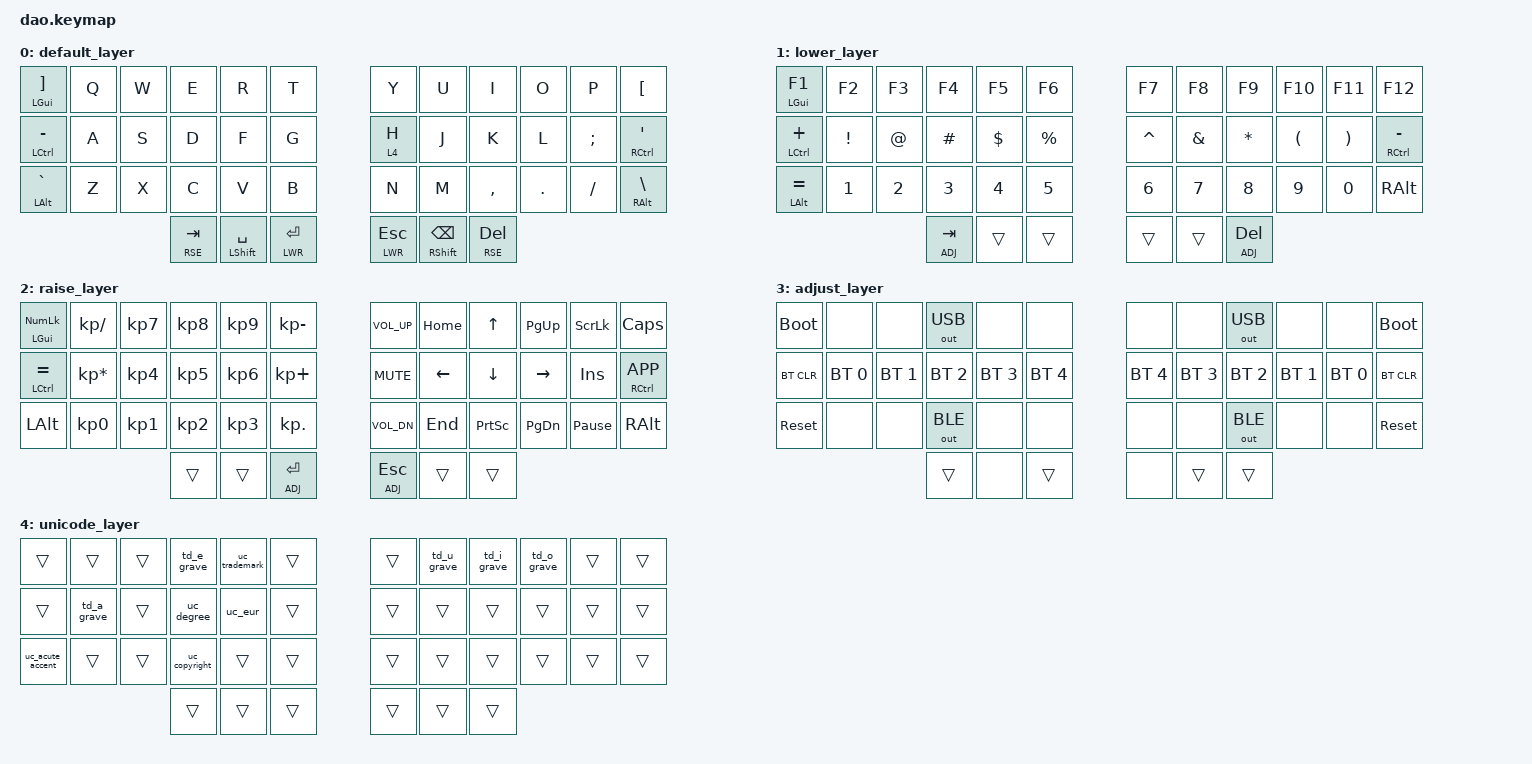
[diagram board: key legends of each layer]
#include <behaviors.dtsi>
#include <dt-bindings/zmk/bt.h>
#include <dt-bindings/zmk/keys.h>
#include <dt-bindings/zmk/outputs.h>

#define DEF 0
#define LWR 1
#define RSE 2
#define ADJ 3
#define UC_TAP_MS 5
#define UC_WAIT_MS 5

#define HELPER_STRINGIFY(x) #x

#define UC_MACRO(name, char_0, char_1, char_2, char_3) \
    / { \
        macros { \
            name: name { \
                compatible = "zmk,behavior-macro"; \
                label = HELPER_STRINGIFY(ucmc_ ## name); \
                #binding-cells = <0>; \
                tap-ms = <UC_TAP_MS>; \
                wait-ms = <UC_WAIT_MS>; \
                bindings = \
                    <&macro_press &kp LALT>, \
                    <&macro_tap &kp char_0 &kp char_1 &kp char_2 &kp char_3>, \
                    <&macro_release &kp LALT>; \
            }; \
        }; \
    };

#define UC_TAPDANCE(name, bind_0, bind_1, bind_2, bind_3) \
    / { \
        behaviors { \
            name: name { \
                compatible = "zmk,behavior-tap-dance"; \
                label = HELPER_STRINGIFY(uctd_ ## name); \
                #binding-cells = <0>; \
                tapping-term-ms = <200>; \
                bindings = <bind_0>, <bind_1>, <bind_2>, <bind_3>; \
            }; \
        }; \
    };

&lt {
    quick_tap_ms = <200>;
};

&mt {
    quick_tap_ms = <200>;
};

// Unicode Chars
UC_MACRO(a_grave, N0, N0, E, N0)
UC_MACRO(a_acute, N0, N0, E, N1)
UC_MACRO(a_grave_up, N0, N0, C, N0)
UC_MACRO(a_acute_up, N0, N0, C, N1)
UC_TAPDANCE(td_a_grave, &a_grave, &a_acute, &a_grave_up, &a_acute_up)
UC_MACRO(e_grave, N0, N0, E, N8)
UC_MACRO(e_acute, N0, N0, E, N9)
UC_MACRO(e_grave_up, N0, N0, C, N8)
UC_MACRO(e_acute_up, N0, N0, C, N9)
UC_TAPDANCE(td_e_grave, &e_grave, &e_acute, &e_grave_up, &e_acute_up)
UC_MACRO(i_grave, N0, N0, E, C)
UC_MACRO(i_acute, N0, N0, E, D)
UC_MACRO(i_grave_up, N0, N0, C, C)
UC_MACRO(i_acute_up, N0, N0, C, D)
UC_TAPDANCE(td_i_grave, &i_grave, &i_acute, &i_grave_up, &i_acute_up)
UC_MACRO(o_grave, N0, N0, F, N2)
UC_MACRO(o_acute, N0, N0, F, N3)
UC_MACRO(o_grave_up, N0, N0, D, N2)
UC_MACRO(o_acute_up, N0, N0, D, N3)
UC_TAPDANCE(td_o_grave, &o_grave, &o_acute, &o_grave_up, &o_acute_up)
UC_MACRO(u_grave, N0, N0, F, N9)
UC_MACRO(u_acute, N0, N0, F, A)
UC_MACRO(u_grave_up, N0, N0, D, N9)
UC_MACRO(u_acute_up, N0, N0, D, A)
UC_TAPDANCE(td_u_grave, &u_grave, &u_acute, &u_grave_up, &u_acute_up)
UC_MACRO(uc_degree, N0, N0, B, N0)
UC_MACRO(uc_eur, N2, N0, A, C)
UC_MACRO(uc_copyright, N0, N0, A, N9)
UC_MACRO(uc_trademark, N0, N0, A, E)
UC_MACRO(uc_acute_accent, N0, N0, B, N4)

/ {
    chosen {
        zmk,matrix_transform = &default_transform;

        // zmk,matrix_transform = &extra_keys_transform;
    };
};

/ {
    keymap {
        compatible = "zmk,keymap";

        default_layer {
            bindings = <
&mt LGUI RBKT    &kp Q  &kp W  &kp E        &kp R            &kp T        &kp Y        &kp U           &kp I        &kp O    &kp P     &kp LBKT
&mt LCTRL MINUS  &kp A  &kp S  &kp D        &kp F            &kp G        &lt 4 H      &kp J           &kp K        &kp L    &kp SEMI  &mt RCTRL SQT
&mt LALT GRAVE   &kp Z  &kp X  &kp C        &kp V            &kp B        &kp N        &kp M           &kp COMMA    &kp DOT  &kp FSLH  &mt RALT BSLH
                               &lt RSE TAB  &mt LSHFT SPACE  &lt LWR RET  &lt LWR ESC  &mt RSHFT BSPC  &lt RSE DEL
            >;
        };

        lower_layer {
            bindings = <
&mt LGUI F1     &kp F2    &kp F3  &kp F4       &kp F5    &kp F6     &kp F7     &kp F8    &kp F9       &kp F10   &kp F11   &kp F12
&mt LCTRL PLUS  &kp EXCL  &kp AT  &kp HASH     &kp DLLR  &kp PRCNT  &kp CARET  &kp AMPS  &kp STAR     &kp LPAR  &kp RPAR  &mt RCTRL MINUS
&mt LALT EQUAL  &kp N1    &kp N2  &kp N3       &kp N4    &kp N5     &kp N6     &kp N7    &kp N8       &kp N9    &kp N0    &kp RALT
                                  &lt ADJ TAB  &trans    &trans     &trans     &trans    &lt ADJ DEL
            >;
        };

        raise_layer {
            bindings = <
&mt LGUI KP_NUM  &kp KP_SLASH     &kp KP_N7  &kp KP_N8  &kp KP_N9  &kp KP_MINUS  &kp C_VOL_UP  &kp HOME  &kp UP           &kp PG_UP  &kp SLCK         &kp CLCK
&mt LCTRL EQUAL  &kp KP_MULTIPLY  &kp KP_N4  &kp KP_N5  &kp KP_N6  &kp KP_PLUS   &kp C_MUTE    &kp LEFT  &kp DOWN         &kp RIGHT  &kp INS          &mt RCTRL K_APP
&kp LALT         &kp KP_N0        &kp KP_N1  &kp KP_N2  &kp KP_N3  &kp KP_DOT    &kp C_VOL_DN  &kp END   &kp PRINTSCREEN  &kp PG_DN  &kp PAUSE_BREAK  &kp RALT
                                             &trans     &trans     &lt ADJ RET   &lt ADJ ESC   &trans    &trans
            >;
        };

        adjust_layer {
            bindings = <
&bootloader  &none         &none         &out OUT_USB  &none         &none         &none         &none         &out OUT_USB  &none         &none         &bootloader
&bt BT_CLR   &bt BT_SEL 0  &bt BT_SEL 1  &bt BT_SEL 2  &bt BT_SEL 3  &bt BT_SEL 4  &bt BT_SEL 4  &bt BT_SEL 3  &bt BT_SEL 2  &bt BT_SEL 1  &bt BT_SEL 0  &bt BT_CLR
&sys_reset   &none         &none         &out OUT_BLE  &none         &none         &none         &none         &out OUT_BLE  &none         &none         &sys_reset
                                         &trans        &none         &trans        &none         &trans        &trans
            >;
        };

        unicode_layer {
            bindings = <
&trans  			&trans  		&trans  	&td_e_grave 	&uc_trademark   &trans  &trans  &td_u_grave 	&td_i_grave  	&td_o_grave  	&trans  	&trans
&trans  			&td_a_grave  	&trans  	&uc_degree  	&uc_eur         &trans  &trans  &trans 			&trans  		&trans  		&trans  	&trans
&uc_acute_accent  	&trans  		&trans  	&uc_copyright  	&trans      	&trans  &trans  &trans 			&trans  		&trans  		&trans  	&trans
                        						&trans  		&trans      	&trans  &trans  &trans 			&trans
            >;
        };
    };
};
